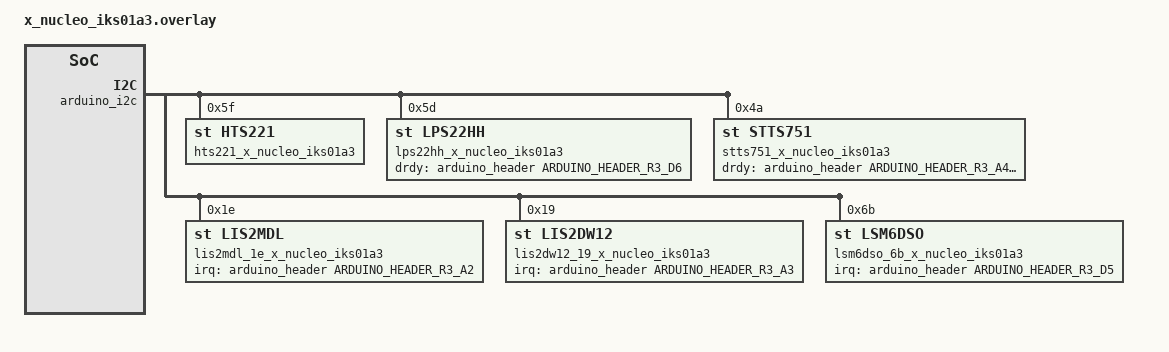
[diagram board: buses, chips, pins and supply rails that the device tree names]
/*
 * Copyright (c) 2019 STMicroelectronics
 *
 * SPDX-License-Identifier: Apache-2.0
 */

#include <zephyr/dt-bindings/gpio/gpio.h>
#include <zephyr/dt-bindings/gpio/arduino-header-r3.h>

/ {
	aliases {
		magn0 = &lis2mdl_1e_x_nucleo_iks01a3;
		accel0 = &lis2dw12_19_x_nucleo_iks01a3;
		accel1 = &lsm6dso_6b_x_nucleo_iks01a3;
	};
};

&arduino_i2c {
	hts221_x_nucleo_iks01a3: hts221@5f {
		compatible = "st,hts221";
		reg = <0x5f>;
	};

	lps22hh_x_nucleo_iks01a3: lps22hh@5d {
		compatible = "st,lps22hh";
		reg = <0x5d>;
		drdy-gpios = <&arduino_header ARDUINO_HEADER_R3_D6 GPIO_ACTIVE_HIGH>;
	};

	stts751_x_nucleo_iks01a3: stts751@4a {
		compatible = "st,stts751";
		reg = <0x4a>;
		drdy-gpios = <&arduino_header ARDUINO_HEADER_R3_A4 GPIO_ACTIVE_LOW>;
	};

	lis2mdl_1e_x_nucleo_iks01a3: lis2mdl@1e {
		compatible = "st,lis2mdl";
		reg = <0x1e>;
		irq-gpios = <&arduino_header ARDUINO_HEADER_R3_A2 GPIO_ACTIVE_HIGH>;
	};

	lis2dw12_19_x_nucleo_iks01a3: lis2dw12@19 {
		compatible = "st,lis2dw12";
		reg = <0x19>;
		irq-gpios = <&arduino_header ARDUINO_HEADER_R3_A3 GPIO_ACTIVE_HIGH>;
	};

	lsm6dso_6b_x_nucleo_iks01a3: lsm6dso@6b {
		compatible = "st,lsm6dso";
		reg = <0x6b>;
		irq-gpios = <&arduino_header ARDUINO_HEADER_R3_D5 GPIO_ACTIVE_HIGH>;
		int-pin = <2>;
	};
};
